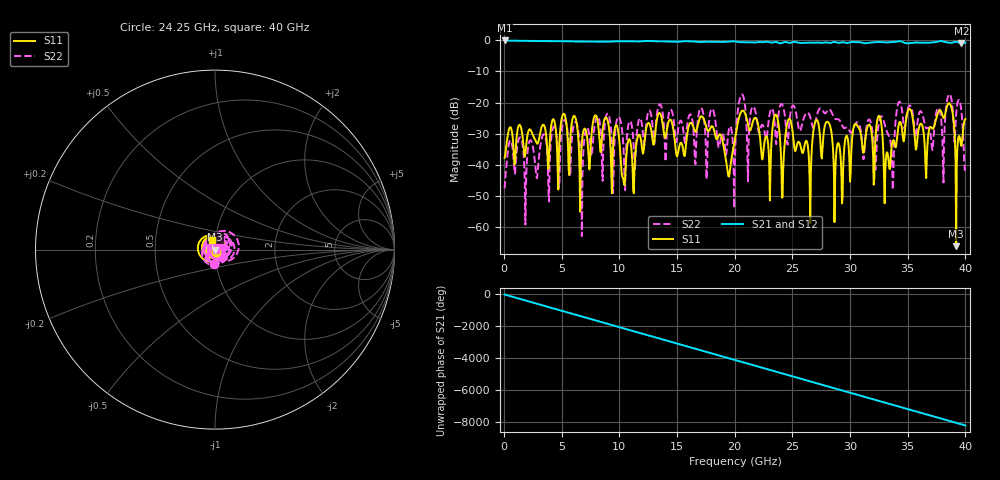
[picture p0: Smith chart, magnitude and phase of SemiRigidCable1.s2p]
! C:\Work\SPARQ2\Technical\Relays\SemiRigidCable1.s2p
! Tue Aug  7 09:54:32 2018
!!Measured using LeCroy SPARQ LCRY2401N02001
!SingleEnded
! freq S11 S21 S12 S22
# MHz S MA R 50.00
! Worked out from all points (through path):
!   800 points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, 50 MHz to 40 GHz, reference 50 ohm
!   highest |S21| = -0.04 dB at 50 MHz (marker M1); lowest = -1.0 dB at 39.65 GHz (marker M2)
!   group delay of S21, straight-line fit = 569 ps
!   lowest |S11| = -66.2 dB at 39.2 GHz (marker M3), VSWR 1.00, Z = 50 + j0.0421 ohm
!   |S11| at or under -10 dB: start of sweep to end of sweep
!   |S22| runs from -62.9 to -17.3 dB; largest |S21 - S12| = 0.028
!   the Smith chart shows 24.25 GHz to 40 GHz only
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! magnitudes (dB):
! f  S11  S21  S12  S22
! 50 MHz  -37.8  0.0  0.0  -47.6
! 5.25 GHz  -23.9  -0.3  -0.3  -25.6
! 6.75 GHz  -32.7  -0.4  -0.4  -62.9
! 8.85 GHz  -24.8  -0.5  -0.4  -24.4
! 10.35 GHz  -44.8  -0.3  -0.3  -33.9
! 13.4 GHz  -23.5  -0.3  -0.4  -21.1
! 15.05 GHz  -36.8  -0.5  -0.5  -30.0
! 17.2 GHz  -24.6  -0.5  -0.5  -22.4
! 19.45 GHz  -43.7  -0.4  -0.4  -29.7
! 20.05 GHz  -31.2  -0.4  -0.4  -34.2
! 20.6 GHz  -22.8  -0.6  -0.6  -17.4
! 21.15 GHz  -27.0  -0.6  -0.6  -45.3
! 26.7 GHz  -33.9  -0.8  -0.8  -27.0
! 27.05 GHz  -25.7  -0.7  -0.8  -25.3
! 32.5 GHz  -24.3  -0.5  -0.6  -26.5
! 33.35 GHz  -39.0  -0.7  -0.7  -30.6
! 34.3 GHz  -26.3  -0.3  -0.4  -19.7
! 38.05 GHz  -24.5  -0.3  -0.4  -38.2
! 38.6 GHz  -20.2  -0.8  -0.8  -17.3
! 39.2 GHz  -66.2  -0.5  -0.6  -23.7
! 39.65 GHz  -34.0  -1.0  -1.0  -22.7
! 40 GHz  -25.3  -0.8  -0.6  -41.9
